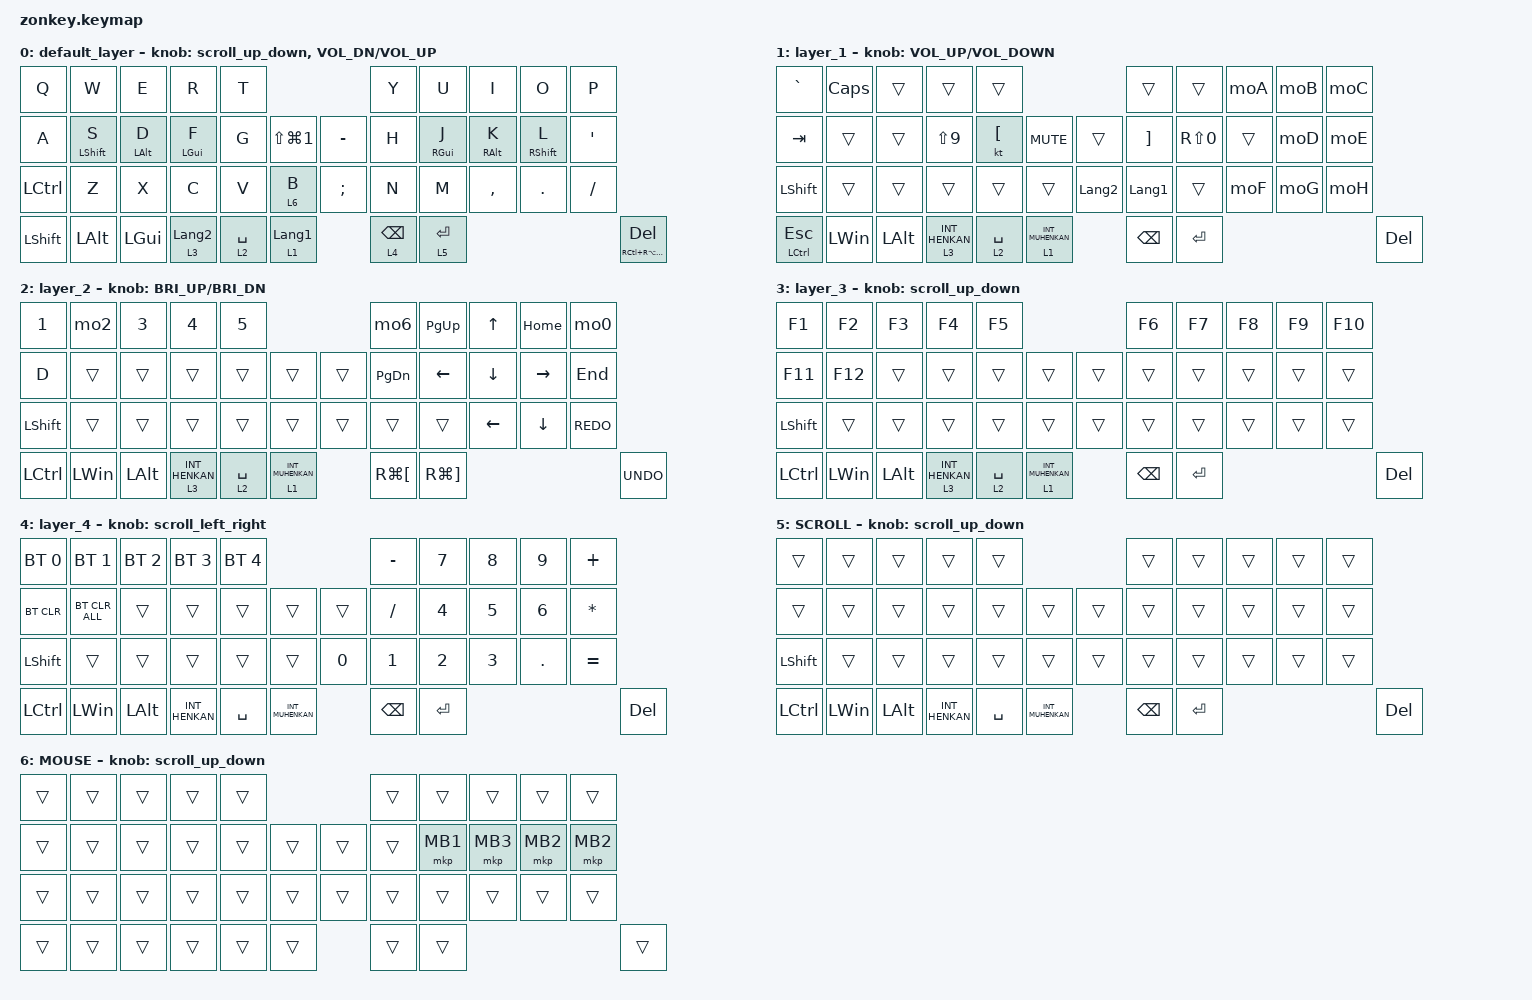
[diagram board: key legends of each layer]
#include <behaviors.dtsi>
#include <dt-bindings/zmk/bt.h>
#include <dt-bindings/zmk/keys.h>
#include <dt-bindings/zmk/pointing.h>

#define ZMK_POINTING_DEFAULT_SCRL_VAL 100
#define MOUSE 6
#define JP_DQUOTE       AT                // "
#define JP_AMPERSAND    CARET             // &
#define JP_QUOTE        AMPERSAND         // '
#define JP_EQUAL        UNDER             // =
#define JP_CARET        EQUAL             // ^
#define JP_YEN          0x89              // ¥
#define JP_PLUS         COLON             // +
#define JP_TILDE        PLUS              // ~
#define JP_PIPE         LS(0x89)          // |
#define JP_AT           LEFT_BRACKET      // @
#define JP_COLON        SINGLE_QUOTE      // :
#define JP_ASTERISK     DOUBLE_QUOTES     // *
#define JP_BACKQUOTE    LEFT_BRACE        // `
#define JP_UNDERSCORE   LS(0x87)          // _
#define JP_LBRACKET     RIGHT_BRACKET     // [
#define JP_RBRACKET     BACKSLASH         // ]
#define JP_LPAREN       ASTERISK          // (
#define JP_RPAREN       LEFT_PARENTHESIS  // )
#define JP_LBRACE       RIGHT_BRACE       // {
#define JP_RBRACE       PIPE              // }
#define JP_KANA         LANGUAGE_1        // かな
#define JP_EISU         LANGUAGE_2        // 英数
#define JP_HANZEN       GRAVE             // 半角/全角
#define JP_BSLH  INT1         // (backslash)

&mt {
    flavor = "balanced";
    quick-tap-ms = <0>;
};

/ {
    combos { compatible = "zmk,combos"; };

    mo2: mo2 {
        compatible = "zmk,behavior-mod-morph";
        #binding-cells = <0>;
        bindings = <&kp N2>, <&kp AT>;

        mods = <(MOD_LSFT|MOD_RSFT)>;
    };

    mo6: mo6 {
        compatible = "zmk,behavior-mod-morph";
        #binding-cells = <0>;
        bindings = <&kp N6>, <&kp CARET>;

        mods = <(MOD_LSFT|MOD_RSFT)>;
    };

    mo7: mo7 {
        compatible = "zmk,behavior-mod-morph";
        #binding-cells = <0>;
        bindings = <&kp N7>, <&kp AMPS>;

        mods = <(MOD_LSFT|MOD_RSFT)>;
    };

    mo8: mo8 {
        compatible = "zmk,behavior-mod-morph";
        #binding-cells = <0>;
        bindings = <&kp N8>, <&kp ASTRK>;

        mods = <(MOD_LSFT|MOD_RSFT)>;
    };

    mo9: mo9 {
        compatible = "zmk,behavior-mod-morph";
        #binding-cells = <0>;
        bindings = <&kp N9>, <&kp LPAR>;

        mods = <(MOD_LSFT|MOD_RSFT)>;
    };

    mo0: mo0 {
        compatible = "zmk,behavior-mod-morph";
        #binding-cells = <0>;
        bindings = <&kp N0>, <&kp LS(N9)>;

        mods = <(MOD_LSFT|MOD_RSFT)>;
    };

    moA: moA {
        compatible = "zmk,behavior-mod-morph";
        #binding-cells = <0>;
        bindings = <&kp MINUS>, <&kp UNDERSCORE>;

        mods = <(MOD_LSFT|MOD_RSFT)>;
    };

    moB: moB {
        compatible = "zmk,behavior-mod-morph";
        #binding-cells = <0>;
        bindings = <&kp EQUAL>, <&kp PLUS>;

        mods = <(MOD_LSFT|MOD_RSFT)>;
    };

    moC: moC {
        compatible = "zmk,behavior-mod-morph";
        #binding-cells = <0>;
        bindings = <&kp INT3>, <&kp JP_PIPE>;

        mods = <(MOD_LSFT|MOD_RSFT)>;
    };

    moD: moD {
        compatible = "zmk,behavior-mod-morph";
        #binding-cells = <0>;
        bindings = <&kp LBKT>, <&kp LBRC>;

        mods = <(MOD_LSFT|MOD_RSFT)>;
    };

    moE: moE {
        compatible = "zmk,behavior-mod-morph";
        #binding-cells = <0>;
        bindings = <&kp RBKT>, <&kp RBRC>;

        mods = <(MOD_LSFT|MOD_RSFT)>;
    };

    moF: moF {
        compatible = "zmk,behavior-mod-morph";
        #binding-cells = <0>;
        bindings = <&kp SEMI>, <&kp KP_PLUS>;

        mods = <(MOD_LSFT|MOD_RSFT)>;
    };

    moG: moG {
        compatible = "zmk,behavior-mod-morph";
        #binding-cells = <0>;
        bindings = <&kp APOSTROPHE>, <&kp DQT>;

        mods = <(MOD_LSFT|MOD_RSFT)>;
    };

    moH: moH {
        compatible = "zmk,behavior-mod-morph";
        #binding-cells = <0>;
        bindings = <&kp BACKSLASH>, <&kp TILDE2>;

        mods = <(MOD_LSFT|MOD_RSFT)>;
    };

    moI: moI {
        compatible = "zmk,behavior-mod-morph";
        #binding-cells = <0>;
        bindings = <&kp JP_BSLH>, <&kp JP_UNDERSCORE>;

        mods = <(MOD_LSFT|MOD_RSFT)>;
    };

    macros {
        to_layer_0: to_layer_0 {
            compatible = "zmk,behavior-macro-one-param";
            #binding-cells = <1>;
            bindings = <&to 0 &macro_param_1to1 &kp MACRO_PLACEHOLDER>;
            label = "TO_LAYER_0";
        };
    };

    behaviors {
        lt_to_layer_0: lt_to_layer_0 {
            compatible = "zmk,behavior-hold-tap";
            label = "LAYER_TAP_TO_0";
            bindings = <&mo>, <&to_layer_0>;

            #binding-cells = <2>;
            tapping-term-ms = <200>;
        };

        scroll_up_down: behavior_sensor_rotate_mouse_wheel_up_down {
            compatible = "zmk,behavior-sensor-rotate";
            #sensor-binding-cells = <0>;
            bindings = <&msc SCRL_DOWN>, <&msc SCRL_UP>;

            tap-ms = <20>;
        };

        scroll_left_right: scroll_left_right {
            compatible = "zmk,behavior-sensor-rotate";
            #sensor-binding-cells = <0>;
            bindings = <&msc SCRL_LEFT>, <&msc SCRL_RIGHT>;

            tap-ms = <20>;
            label = "SCROLL_LEFT_RIGHT";
        };
    };

    keymap {
        compatible = "zmk,keymap";

        default_layer {
            // -----------------------------------------------------------------------------------------
            // |  Q  |  W  |  E  |  R  |  T  |                        |  Y  |  U   |  I  |  O  |  P  | 
            // |  A  |  S  |  D  |  F  |  G  |LS(LG(S))|        　 | - |  H  |  J   |  K  |  L  |  `  | 
            // |SHIFT|  Z  |  X  |  C  |  V  |  B  |           | ; |  N  |  M   |  ,  |  .  |  /  | 
            // | CTRL | WIN | ALT |HENKAN|SPACE|MUHENKAN|       | BS | ENT |      　　　　       | DEL |           

            bindings = <
&kp Q           &kp W             &kp E           &kp R             &kp T                                               &kp Y            &kp U            &kp I            &kp O              &kp P
&kp A           &mt LEFT_SHIFT S  &mt LEFT_ALT D  &mt LEFT_GUI F    &kp G        &kp LS(LG(NUMBER_1))    &kp MINUS      &kp H            &mt RIGHT_GUI J  &mt RIGHT_ALT K  &mt RIGHT_SHIFT L  &kp SQT
&kp LCTRL       &kp Z             &kp X           &kp C             &kp V        &lt 6 B                 &kp SEMICOLON  &kp N            &kp M            &kp COMMA        &kp DOT            &kp SLASH
&kp LEFT_SHIFT  &kp LEFT_ALT      &kp LEFT_GUI    &lt 3 LANGUAGE_2  &lt 2 SPACE  &lt 1 LANGUAGE_1                       &lt 4 BACKSPACE  &lt 5 ENTER                                                     &mt RC(RA(LEFT_GUI)) DEL
            >;

            sensor-bindings =
                <&scroll_up_down>,
                <&inc_dec_kp C_VOL_DN C_VOL_UP>;
        };

        layer_1 {
            // -----------------------------------------------------------------------------------------
            // | 半角/全角 |CAPS|     |     |     |                     |     |     |  -  |  ^  |  ¥  |
            // | TAB |     |     |     |     |     |              |    |     |     |     |  @  |  [  |
            // |SHIFT|     |     |     |     |     |            | 英数 | かな |     |     |     |  ]  |
            // | CTRL| WIN | ALT |HENKAN|SPACE|MUHENKAN|         | BS | ENT |                   | DEL |

            bindings = <
&kp GRAVE       &kp CAPS      &trans        &trans            &trans                                               &trans             &trans      &moA    &moB  &moC
&kp TAB         &trans        &trans        &kp LS(N9)        &kt LEFT_BRACKET  &kp K_MUTE            &trans       &kp RIGHT_BRACKET  &kp RS(N0)  &trans  &moD  &moE
&kp LEFT_SHIFT  &trans        &trans        &trans            &trans            &trans                &kp JP_EISU  &kp JP_KANA        &trans      &moF    &moG  &moH
&mt LCTL ESC    &kp LEFT_WIN  &kp LEFT_ALT  &lt 3 INT_HENKAN  &lt 2 SPACE       &lt 1 INT_MUHENKAN                 &kp BACKSPACE      &kp ENTER                       &kp DEL
            >;

            sensor-bindings = <&inc_dec_kp C_VOLUME_UP C_VOLUME_DOWN>;
        };

        layer_2 {
            // -----------------------------------------------------------------------------------------
            // |  1  |  2  |  3  |  4  |  5  |                     |  6  |  7  |  8  |  9  |   0  |
            // |      |     |     |     |     |     |           |    |     |     |     |  ↑  |      |
            // |SHIFT|     |     |     |     |     |           |     |     |     |  ←  |  ↓  |  →  |
            // | CTRL| WIN | ALT |HENKAN|SPACE|MUHENKAN|         | BS | ENT |                   | DEL |

            bindings = <
&kp N1          &mo2          &kp N3        &kp N4            &kp N5                                     &mo6                  &kp PAGE_UP            &kp UP_ARROW    &kp HOME        &mo0
&kp D           &trans        &trans        &trans            &trans       &trans                &trans  &kp PAGE_DOWN         &kp LEFT               &kp DOWN_ARROW  &kp RIGHT       &kp END
&kp LEFT_SHIFT  &trans        &trans        &trans            &trans       &trans                &trans  &trans                &trans                 &kp LEFT_ARROW  &kp DOWN_ARROW  &kp K_REDO
&kp LCTRL       &kp LEFT_WIN  &kp LEFT_ALT  &lt 3 INT_HENKAN  &lt 2 SPACE  &lt 1 INT_MUHENKAN            &kp RG(LEFT_BRACKET)  &kp RG(RIGHT_BRACKET)                                              &kp K_UNDO
            >;

            sensor-bindings = <&inc_dec_kp C_BRI_UP C_BRI_DN>;
        };

        layer_3 {
            // -----------------------------------------------------------------------------------------
            // | F1  | F2  | F3  | F4  | F5  |                     | F6  | F7 | F8  | F9 | F10 |
            // | F11 | F12 |     |     |     |     |           |    |     |     |     |     |      |
            // |SHIFT|     |     |     |     |     |           |     |     |     |     |     |      |
            // | CTRL| WIN | ALT |HENKAN|SPACE|MUHENKAN|         | BS | ENT |                   | DEL |

            bindings = <
&kp F1          &kp F2        &kp F3        &kp F4            &kp F5                                     &kp F6         &kp F7     &kp F8  &kp F9  &kp F10
&kp F11         &kp F12       &trans        &trans            &trans       &trans                &trans  &trans         &trans     &trans  &trans  &trans
&kp LEFT_SHIFT  &trans        &trans        &trans            &trans       &trans                &trans  &trans         &trans     &trans  &trans  &trans
&kp LCTRL       &kp LEFT_WIN  &kp LEFT_ALT  &lt 3 INT_HENKAN  &lt 2 SPACE  &lt 1 INT_MUHENKAN            &kp BACKSPACE  &kp ENTER                           &kp DEL
            >;

            sensor-bindings = <&scroll_up_down>;
        };

        layer_4 {
            // -----------------------------------------------------------------------------------------
            // | BT0 | BT1 | BT2 | BT3 | BT4 |                |  -  |  7  |  8  |  9  |  +  |
            // |BTCLR |     |     |     |     |     |           |  /  |  4  |  5  |  6  |  *  | 
            // |SHIFT|     |     |     |     |     |           |  0  |  1  |  2  |   3 |  .  |  =  |
            // | CTRL| WIN | ALT |HENKAN|SPACE|MUHENKAN|        | BS | ENT |                  | DEL |

            bindings = <
&bt BT_SEL 0    &bt BT_SEL 1    &bt BT_SEL 2  &bt BT_SEL 3    &bt BT_SEL 4                              &kp MINUS      &kp N7        &kp N8        &kp N9        &kp PLUS
&bt BT_CLR      &bt BT_CLR_ALL  &trans        &trans          &trans        &trans              &trans  &kp SLASH      &kp NUMBER_4  &kp NUMBER_5  &kp NUMBER_6  &kp ASTERISK
&kp LEFT_SHIFT  &trans          &trans        &trans          &trans        &trans              &kp N0  &kp NUMBER_1   &kp NUMBER_2  &kp NUMBER_3  &kp PERIOD    &kp EQUAL
&kp LCTRL       &kp LEFT_WIN    &kp LEFT_ALT  &kp INT_HENKAN  &kp SPACE     &kp INT_MUHENKAN            &kp BACKSPACE  &kp ENTER                                               &kp DEL
            >;

            sensor-bindings = <&scroll_left_right>;
        };

        SCROLL {
            // -----------------------------------------------------------------------------------------
            // |      |     |     |     |     |                     |     |     |     |     |      |
            // |      |     |     |     |     |     |           |    |     |     |     |     |      |
            // |SHIFT|     |     |     |     |     |          |     |     |     |     |     |      |
            // | CTRL| WIN | ALT |HENKAN|SPACE|MUHENKAN|        | BS | ENT |                  | DEL |

            bindings = <
&trans          &trans        &trans        &trans          &trans                                 &trans         &trans     &trans  &trans  &trans
&trans          &trans        &trans        &trans          &trans     &trans              &trans  &trans         &trans     &trans  &trans  &trans
&kp LEFT_SHIFT  &trans        &trans        &trans          &trans     &trans              &trans  &trans         &trans     &trans  &trans  &trans
&kp LCTRL       &kp LEFT_WIN  &kp LEFT_ALT  &kp INT_HENKAN  &kp SPACE  &kp INT_MUHENKAN            &kp BACKSPACE  &kp ENTER                          &kp DEL
            >;

            sensor-bindings = <&scroll_up_down>;
        };

        MOUSE {
            bindings = <
&trans  &trans  &trans  &trans  &trans                    &trans  &trans    &trans    &trans    &trans
&trans  &trans  &trans  &trans  &trans  &trans    &trans  &trans  &mkp MB1  &mkp MB3  &mkp MB2  &mkp MB2
&trans  &trans  &trans  &trans  &trans  &trans    &trans  &trans  &trans    &trans    &trans    &trans
&trans  &trans  &trans  &trans  &trans  &trans            &trans  &trans                                  &trans
            >;

            sensor-bindings = <&scroll_up_down>;
        };
    };
};
